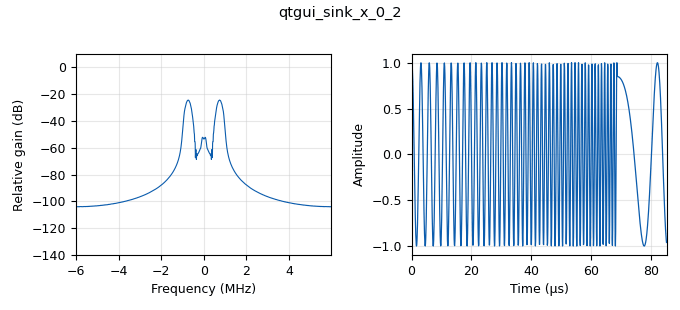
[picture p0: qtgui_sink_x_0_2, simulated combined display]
options:
  parameters:
    generate_options: qt_gui
    id: fmcw_sim
    output_language: python
    title: Not titled yet
  states: {}

blocks:
- name: center_freq
  id: variable
  parameters:
    value: '100000000'
  states: {}
- name: samp_rate
  id: variable
  parameters:
    value: '12000000'
  states: {}
- name: analog_sig_source_x_0_0
  id: analog_sig_source_x
  parameters:
    amp: '1'
    freq: '10000'
    offset: '0'
    phase: '0'
    samp_rate: samp_rate
    type: float
    waveform: analog.GR_SAW_WAVE
  states: {}
- name: blocks_complex_to_mag_0
  id: blocks_complex_to_mag
  parameters: {}
  states: {state: disabled}
- name: blocks_file_sink_0_0
  id: blocks_file_sink
  parameters:
    file: /home/gprlab/Desktop/gpr/gnu_log/matched_filter_log
    type: float
  states: {state: disabled}
- name: blocks_file_sink_0_0_0
  id: blocks_file_sink
  parameters:
    file: /home/gprlab/Desktop/gpr/gnu_log/out0_log
    type: complex
  states: {}
- name: blocks_file_sink_0_0_1
  id: blocks_file_sink
  parameters:
    file: /home/gprlab/Desktop/gpr/gnu_log/out1_log
    type: complex
  states: {}
- name: blocks_file_sink_0_0_2
  id: blocks_file_sink
  parameters:
    file: /home/gprlab/Desktop/gpr/gnu_log/chirp_log
    type: complex
  states: {}
- name: blocks_float_to_complex_0
  id: blocks_float_to_complex
  parameters: {}
  states: {}
- name: blocks_head_0
  id: blocks_head
  parameters:
    num_items: samp_rate * 5
    type: float
  states: {state: disabled}
- name: blocks_multiply_conjugate_cc_0
  id: blocks_multiply_conjugate_cc
  parameters: {}
  states: {state: disabled}
- name: blocks_stream_to_vector_0
  id: blocks_stream_to_vector
  parameters:
    num_items: '16384'
    type: complex
  states: {state: disabled}
- name: blocks_stream_to_vector_0_0
  id: blocks_stream_to_vector
  parameters:
    num_items: '16384'
    type: complex
  states: {state: disabled}
- name: blocks_stream_to_vector_1
  id: blocks_stream_to_vector
  parameters:
    num_items: '16384'
    type: complex
  states: {state: disabled}
- name: blocks_vco_f_0_0
  id: blocks_vco_f
  parameters:
    amplitude: '1'
    samp_rate: samp_rate
    sensitivity: 3140000*2
  states: {}
- name: blocks_vector_to_stream_0
  id: blocks_vector_to_stream
  parameters:
    num_items: '16384'
    type: complex
  states: {state: disabled}
- name: blocks_vector_to_stream_0_0
  id: blocks_vector_to_stream
  parameters:
    num_items: '16384'
    type: complex
  states: {state: disabled}
- name: blocks_vector_to_stream_1
  id: blocks_vector_to_stream
  parameters:
    num_items: '16384'
    type: complex
  states: {state: disabled}
- name: fft_vxx_0
  id: fft_vxx
  parameters:
    fft_size: '16384'
    forward: 'True'
    shift: 'True'
    type: complex
    window: window.blackmanharris(16384)
  states: {state: disabled}
- name: fft_vxx_0_0
  id: fft_vxx
  parameters:
    fft_size: '16384'
    forward: 'True'
    shift: 'True'
    type: complex
    window: window.blackmanharris(16384)
  states: {state: disabled}
- name: fft_vxx_1
  id: fft_vxx
  parameters:
    fft_size: '16384'
    forward: 'False'
    shift: 'True'
    type: complex
    window: window.blackmanharris(16384)
  states: {state: disabled}
- name: note_0
  id: note
  parameters: {}
  states: {}
- name: qtgui_sink_x_0_2
  id: qtgui_sink_x
  parameters:
    bw: samp_rate
    fc: '0'
    fftsize: '1024'
    rate: '10000'
    type: float
  states: {}
- name: qtgui_time_sink_x_0
  id: qtgui_time_sink_x
  parameters:
    size: '1024'
    srate: samp_rate
    type: float
  states: {state: disabled}
- name: qtgui_time_sink_x_1
  id: qtgui_time_sink_x
  parameters:
    autoscale: 'True'
    size: '16384'
    srate: samp_rate
    type: float
  states: {state: disabled}
- name: qtgui_time_sink_x_2
  id: qtgui_time_sink_x
  parameters:
    size: '1024'
    srate: samp_rate
    type: complex
  states: {}
- name: uhd_usrp_sink_0_0
  id: uhd_usrp_sink
  parameters:
    ant0: '"TX/RX"'
    ant1: '"TX/RX"'
    bw0: samp_rate/2
    bw1: samp_rate/2
    center_freq0: center_freq
    center_freq1: center_freq
    dev_addr: '"serial=326F639"'
    gain0: '0.5'
    gain1: '0'
    gain_type0: normalized
    gain_type1: normalized
    lo_export1: 'False'
    lo_source1: internal
    nchan: '2'
    samp_rate: samp_rate
    show_lo_controls: 'True'
    stream_args: num send f rames = 1024
    stream_chans: '[0,1]'
    sync: sync
    type: fc32
  states: {}
- name: uhd_usrp_source_0_0_0
  id: uhd_usrp_source
  parameters:
    ant0: '"RX2"'
    ant1: '"RX2"'
    bw0: samp_rate/2
    bw1: samp_rate/2
    center_freq0: center_freq
    center_freq1: center_freq
    dev_addr: '"serial=326F639"'
    gain0: '0.5'
    gain1: '0.5'
    gain_type0: normalized
    gain_type1: normalized
    lo_export1: 'False'
    lo_source1: internal
    nchan: '2'
    rx_agc0: Disabled
    rx_agc1: Disabled
    samp_rate: samp_rate
    show_lo_controls: 'True'
    stream_args: num send f rames = 1024
    stream_chans: '[0,1]'
    sync: none
    type: fc32
  states: {}

connections:
- [analog_sig_source_x_0_0, '0', blocks_vco_f_0_0, '0']
- [blocks_complex_to_mag_0, '0', blocks_head_0, '0']
- [blocks_complex_to_mag_0, '0', qtgui_time_sink_x_1, '0']
- [blocks_float_to_complex_0, '0', blocks_file_sink_0_0_2, '0']
- [blocks_float_to_complex_0, '0', uhd_usrp_sink_0_0, '0']
- [blocks_float_to_complex_0, '0', uhd_usrp_sink_0_0, '1']
- [blocks_head_0, '0', blocks_file_sink_0_0, '0']
- [blocks_head_0, '0', qtgui_time_sink_x_0, '0']
- [blocks_multiply_conjugate_cc_0, '0', blocks_stream_to_vector_1, '0']
- [blocks_stream_to_vector_0, '0', fft_vxx_0, '0']
- [blocks_stream_to_vector_0_0, '0', fft_vxx_0_0, '0']
- [blocks_stream_to_vector_1, '0', fft_vxx_1, '0']
- [blocks_vco_f_0_0, '0', blocks_float_to_complex_0, '0']
- [blocks_vco_f_0_0, '0', blocks_float_to_complex_0, '1']
- [blocks_vco_f_0_0, '0', qtgui_sink_x_0_2, '0']
- [blocks_vector_to_stream_0, '0', blocks_multiply_conjugate_cc_0, '0']
- [blocks_vector_to_stream_0_0, '0', blocks_multiply_conjugate_cc_0, '1']
- [blocks_vector_to_stream_1, '0', blocks_complex_to_mag_0, '0']
- [fft_vxx_0, '0', blocks_vector_to_stream_0, '0']
- [fft_vxx_0_0, '0', blocks_vector_to_stream_0_0, '0']
- [fft_vxx_1, '0', blocks_vector_to_stream_1, '0']
- [uhd_usrp_source_0_0_0, '0', blocks_file_sink_0_0_0, '0']
- [uhd_usrp_source_0_0_0, '0', blocks_stream_to_vector_0, '0']
- [uhd_usrp_source_0_0_0, '0', qtgui_time_sink_x_2, '0']
- [uhd_usrp_source_0_0_0, '1', blocks_file_sink_0_0_1, '0']
- [uhd_usrp_source_0_0_0, '1', blocks_stream_to_vector_0_0, '0']

metadata:
  file_format: 1
  grc_version: 3.9.8.0-rc1
